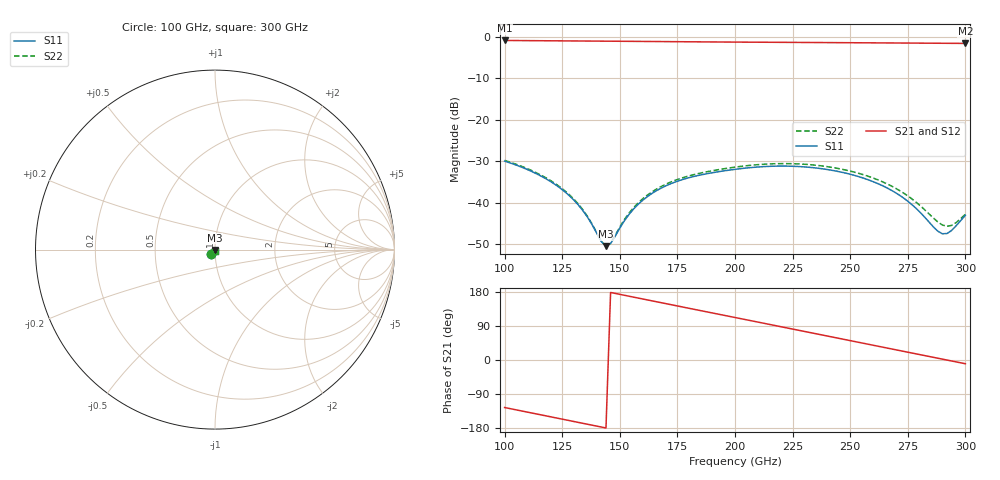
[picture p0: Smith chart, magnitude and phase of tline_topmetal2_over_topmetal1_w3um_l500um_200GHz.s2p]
#  GHZ S DB R 50
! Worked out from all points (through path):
!   101 points, 100 GHz to 300 GHz, reference 50 ohm
!   highest |S21| = -0.82 dB at 100 GHz (marker M1); lowest = -1.5 dB at 300 GHz (marker M2)
!   group delay of S21, straight-line fit = 3.39 ps
!   lowest |S11| = -50.4 dB at 144 GHz (marker M3), VSWR 1.01, Z = 49.9 - j0.266 ohm
!   |S11| at or under -10 dB: start of sweep to end of sweep
!   |S22| runs from -50.5 to -29.8 dB; largest |S21 - S12| = 1.5e-14
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100  -29.94 -131.9  -0.82 -125.4  -0.82 -125.4  -29.75 -132.0
120  -34.87 -158.1  -0.90 -149.9  -0.90 -149.9  -34.65 -158.0
128  -38.23 -165.5  -0.94 -159.8  -0.94 -159.8  -37.99 -165.4
134  -41.89 -166.7  -0.96 -167.1  -0.96 -167.1  -41.68 -166.7
142  -49.33 -139.1  -0.99 -176.9  -0.99 -176.9  -49.30 -138.8
144  -50.44 -117.4  -1.00 -179.4  -1.00 -179.4  -50.45 -116.2
146  -49.83 -94.6  -1.00 178.2  -1.00 178.2  -49.75 -92.5
152  -44.32 -64.7  -1.03 170.8  -1.03 170.8  -44.02 -62.7
156  -41.48 -61.8  -1.04 165.9  -1.04 165.9  -41.14 -60.0
162  -38.48 -64.3  -1.07 158.5  -1.07 158.5  -38.12 -62.6
168  -36.43 -69.7  -1.09 151.2  -1.09 151.2  -36.05 -68.0
180  -33.93 -82.9  -1.14 136.5  -1.14 136.5  -33.50 -81.0
200  -31.92 -103.8  -1.22 112.2  -1.22 112.2  -31.39 -101.7
218  -31.15 -124.1  -1.27 90.2  -1.27 90.2  -30.55 -121.7
234  -31.52 -143.3  -1.32 70.7  -1.32 70.7  -30.86 -140.7
252  -33.40 -164.1  -1.38 48.7  -1.38 48.7  -32.62 -160.9
268  -37.01 -178.8  -1.43 29.2  -1.43 29.2  -35.98 -175.0
276  -40.05 178.6  -1.46 19.4  -1.46 19.4  -38.72 -177.5
288  -46.82 -154.7  -1.49 4.8  -1.49 4.8  -44.59 -157.3
290  -47.46 -141.6  -1.50 2.3  -1.50 2.3  -45.34 -147.5
294  -46.67 -114.6  -1.51 -2.6  -1.51 -2.6  -45.44 -124.4
300  -43.00 -93.8  -1.53 -9.9  -1.53 -9.9  -42.73 -100.3
